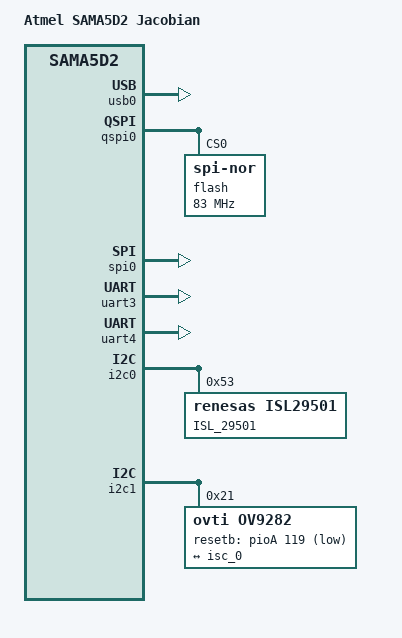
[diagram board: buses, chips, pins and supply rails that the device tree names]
/*
 * at91-sama5d2_bootstrap.dts - Device Tree file for SAMA5D2 Jacobian board
 *
 *  Copyright (C) 2018 Yuneec,
 *                2018 Yonghua Zheng <yh.zheng@yuneec.com>
 *
 * This file is dual-licensed: you can use it either under the terms
 * of the GPL or the X11 license, at your option. Note that this dual
 * licensing only applies to this file, and not this project as a
 * whole.
 *
 *  a) This file is free software; you can redistribute it and/or
 *     modify it under the terms of the GNU General Public License as
 *     published by the Free Software Foundation; either version 2 of the
 *     License, or (at your option) any later version.
 *
 *     This file is distributed in the hope that it will be useful,
 *     but WITHOUT ANY WARRANTY; without even the implied warranty of
 *     MERCHANTABILITY or FITNESS FOR A PARTICULAR PURPOSE.  See the
 *     GNU General Public License for more details.
 *
 * Or, alternatively,
 *
 *  b) Permission is hereby granted, free of charge, to any person
 *     obtaining a copy of this software and associated documentation
 *     files (the "Software"), to deal in the Software without
 *     restriction, including without limitation the rights to use,
 *     copy, modify, merge, publish, distribute, sublicense, and/or
 *     sell copies of the Software, and to permit persons to whom the
 *     Software is furnished to do so, subject to the following
 *     conditions:
 *
 *     The above copyright notice and this permission notice shall be
 *     included in all copies or substantial portions of the Software.
 *
 *     THE SOFTWARE IS PROVIDED "AS IS", WITHOUT WARRANTY OF ANY KIND,
 *     EXPRESS OR IMPLIED, INCLUDING BUT NOT LIMITED TO THE WARRANTIES
 *     OF MERCHANTABILITY, FITNESS FOR A PARTICULAR PURPOSE AND
 *     NONINFRINGEMENT. IN NO EVENT SHALL THE AUTHORS OR COPYRIGHT
 *     HOLDERS BE LIABLE FOR ANY CLAIM, DAMAGES OR OTHER LIABILITY,
 *     WHETHER IN AN ACTION OF CONTRACT, TORT OR OTHERWISE, ARISING
 *     FROM, OUT OF OR IN CONNECTION WITH THE SOFTWARE OR THE USE OR
 *     OTHER DEALINGS IN THE SOFTWARE.
 */
/dts-v1/;
#include "sama5d2.dtsi"
#include "sama5d2-pinfunc.h"
#include <dt-bindings/gpio/gpio.h>
#include <dt-bindings/pinctrl/at91.h>

/ {
	model = "Atmel SAMA5D2 Jacobian";
	compatible = "atmel,sama5d2-jacobian", "atmel,sama5d2", "atmel,sama5";

	aliases {
		serial0 = &uart3;
		serial1 = &uart4;
	};

	chosen {
		stdout-path = "serial0:115200n8";
	};

	clocks {
		slow_xtal {
			clock-frequency = <32768>;
		};

		main_xtal {
			clock-frequency = <12000000>;
		};
	};

	ahb {
		usb0: gadget@00300000 {
			atmel,vbus-gpio = <&pioA 31 GPIO_ACTIVE_HIGH>;
			pinctrl-names = "default";
			pinctrl-0 = <&pinctrl_usba_vbus>;
			status = "okay";
		};

		apb {
			pmc: pmc@f0014000 {
				pmc_fast_restart {
					compatible = "atmel,sama5d2-pmc-fast-startup";
					#address-cells = <1>;
					#size-cells = <0>;

					atmel,wakeup-rtc-timer;

					wkpin: input@0 {
						reg = <0>;
					};

					gmac_wol: input@10 {
						reg = <10>;
						atmel,wakeup-active-high;
					};
				};
			};

			qspi0: spi@f0020000 {
				pinctrl-names = "default";
				pinctrl-0 = <&pinctrl_qspi0_default>;
				status = "okay"; /* conflict with sdmmc1 */

				flash@0 {
					#address-cells = <1>;
					#size-cells = <1>;
					compatible = "jedec,spi-nor";
					reg = <0>;
					spi-max-frequency = <83000000>;
					m25p,fast-read;

					at91bootstrap@00000000 {
						label = "at91bootstrap";
						reg = <0x00000000 0x00004000>;
					};

					bootloaderenv@00010000 {
						label = "bootloader env";
						reg = <0x00004000 0x00004000>;
					};

					bootloader@00020000 {
						label = "bootloader";
						reg = <0x00008000 0x00058000>;
					};

					dtb@00070000 {
						label = "device tree";
						reg = <0x00060000 0x0000C000>;
					};

					kernel@00080000 {
						label = "kernel";
						reg = <0x0006C000 0x00394000>;
					};

					system@00400000 {
						label = "rootfs";
						reg = <0x00400000 0x00C00000>;
					};

					data@00400000 {
						label = "data";
						reg = <0x01000000 0x00000000>;
					};
				};
			};

			spi0: spi@f8000000 {
				pinctrl-names = "default";
				pinctrl-0 = <&pinctrl_spi0_default>;
				status = "okay";
			};

			shdwc@f8048010 {
				atmel,shdwc-debouncer = <976>;
				atmel,wakeup-rtc-timer;

				input@0 {
					reg = <0>;
					atmel,wakeup-type = "low";
				};
			};

			watchdog@f8048040 {
				status = "okay";
			};

			uart3: serial@fc008000 {
				atmel,use-dma-rx;
				atmel,use-dma-tx;
				pinctrl-names = "default";
				pinctrl-0 = <&pinctrl_uart3_default>;
				status = "okay";
			};

			uart4: serial@fc00c000 {
				atmel,use-dma-rx;
				atmel,use-dma-tx;
				pinctrl-names = "default";
				pinctrl-0 = <&pinctrl_uart4_default>;
				status = "okay";
			};

			i2c0: i2c@f8028000 {
				dmas = <0>, <0>;
				pinctrl-names = "default";
				pinctrl-0 = <&pinctrl_i2c0_default>;
				status = "okay";
				ISL_29501@53{
					compatible = "renesas,isl29501";
					reg = <0x53>;
				};
			};

			isc: isc@f0008000 {
				pinctrl-names = "default";
				pinctrl-0 = <&pinctrl_isc_base &pinctrl_isc_data_8bit>;
				status = "okay";

				port {
					isc_0: endpoint@0 {
						remote-endpoint = <&ov9282_0>;
						hsync-active = <1>;
						vsync-active = <0>;
						pclk-sample = <1>;
					};
				};
			};

			i2c1: i2c@fc028000 {
				dmas = <0>, <0>;
				pinctrl-names = "default";
				pinctrl-0 = <&pinctrl_i2c1_default>;
				status = "okay";

				ov9282: camera@21 {
					compatible = "ovti,ov9282";
					reg = <0x21>;
					pinctrl-names = "default";
					pinctrl-0 = <&pinctrl_sensor_reset>;
					clocks = <&isc>;
					clock-names = "xvclk";
					assigned-clocks = <&isc>;
					assigned-clock-rates = <24000000>;
					resetb-gpios = <&pioA 119 GPIO_ACTIVE_LOW>;

					port {
						ov9282_0: endpoint {
							remote-endpoint = <&isc_0>;
						};
					};
				};
			};

			pinctrl@fc038000 {
				pinctrl_isc_base: isc_base {
					pinmux = <PIN_PD20__ISC_PCK>,
						 <PIN_PD21__ISC_VSYNC>,
						 <PIN_PD22__ISC_HSYNC>,
						 <PIN_PD11__ISC_MCK>;
					bias-disable;
				};

				pinctrl_isc_data_8bit: isc_data_8bit {
					pinmux = <PIN_PD19__ISC_D11>,
						 <PIN_PD18__ISC_D10>,
						 <PIN_PD17__ISC_D9>,
						 <PIN_PD16__ISC_D8>,
						 <PIN_PD15__ISC_D7>,
						 <PIN_PD14__ISC_D6>,
						 <PIN_PD13__ISC_D5>,
						 <PIN_PD12__ISC_D4>;
					bias-disable;
				};

				pinctrl_sensor_reset: sensor_reset {
					pinmux = <PIN_PD23__GPIO>;
					bias-disable;
				};

				pinctrl_qspi0_default: qspi0_default {
					sck_cs {
						pinmux = <PIN_PA22__QSPI0_SCK>,
							 <PIN_PA23__QSPI0_CS>;
						bias-disable;
					};

					data {
						pinmux = <PIN_PA24__QSPI0_IO0>,
							 <PIN_PA25__QSPI0_IO1>,
							 <PIN_PA26__QSPI0_IO2>,
							 <PIN_PA27__QSPI0_IO3>;
						bias-pull-up;
					};
				};

				pinctrl_i2c0_default: i2c0_default {
					pinmux = <PIN_PB31__TWD0>,
						 <PIN_PC0__TWCK0>;
					bias-disable;
				};

				pinctrl_i2c1_default: i2c1_default {
					pinmux = <PIN_PC6__TWD1>,
						 <PIN_PC7__TWCK1>;
					bias-disable;
				};

				pinctrl_spi0_default: spi0_default {
					pinmux = <PIN_PA14__SPI0_SPCK>,
						 <PIN_PA15__SPI0_MOSI>,
						 <PIN_PA16__SPI0_MISO>,
						 <PIN_PA17__SPI0_NPCS0>;
					bias-disable;
				};

				pinctrl_uart3_default: uart3_default {
					pinmux = <PIN_PB11__URXD3>,
						 <PIN_PB12__UTXD3>;
					bias-disable;
				};

				pinctrl_uart4_default: uart4_default {
					pinmux = <PIN_PB3__URXD4>,
						 <PIN_PB4__UTXD4>;
					bias-disable;
				};

				pinctrl_usba_vbus: usba_vbus {
					pinmux = <PIN_PA31__GPIO>;
					bias-disable;
				};
			};
		};
	};
};
